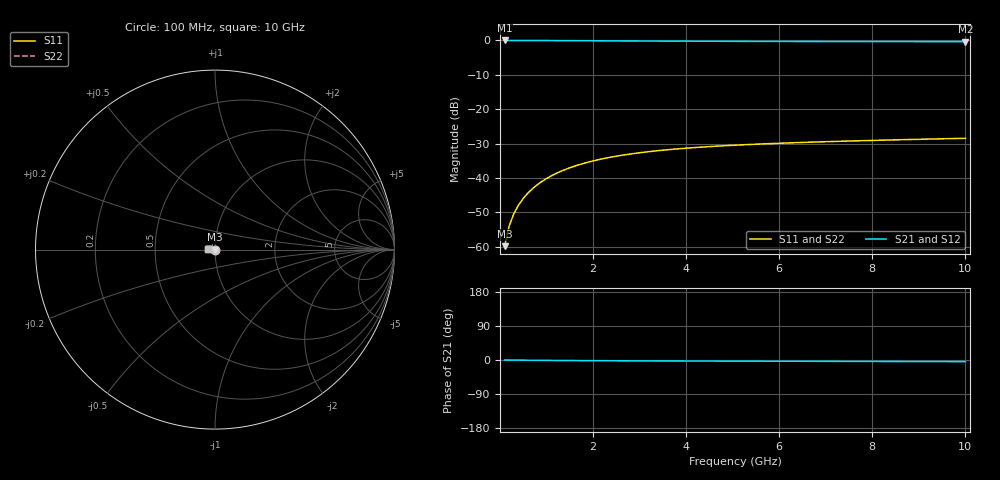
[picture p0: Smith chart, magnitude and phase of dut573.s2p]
! Touchstone file exported from HFSS 2024.1.0
!  File:  C:/UserFiles/LocalFiles/RDL_TSV_Batchsim/temp_TSV1_573_1779708339.aedt
!  Generated:  07:30:50 PM May 25, 2026
!  Design:  TSV1
!  Project:  temp_TSV1_573_1779708339
!  Setup:  Setup1
!  Solution:  Sweep
! Variables:
!  dtsv = 10.48um
!  hbump = 3um
!  htsv = 64.72um
!  lrdl = 252.1521522um
!  p = 40
!  p1 = 53.99um
!  t = 500um
!  trdl = 3um
!  wrdl = 24.89489489um
# GHz S MA R 50.000000
! Terminal data exported
! Port[1] = TSV22_T1
! Port[2] = TSV22_T2
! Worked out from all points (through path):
!   100 points, 100 MHz to 10 GHz, reference 50 ohm
!   highest |S21| = 0.00 dB at 100 MHz (marker M1); lowest = -0.3 dB at 10 GHz (marker M2)
!   lowest |S11| = -59.9 dB at 100 MHz (marker M3), VSWR 1.00, Z = 50 - j0.101 ohm
!   |S11| at or under -10 dB: start of sweep to end of sweep
!   |S22| runs from -59.9 to -28.5 dB; largest |S21 - S12| = 8.8e-15
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0.1  0.001017 -85.4  0.9998 -0.1  0.9998 -0.1  0.001017 -85.4
! Gamma 0 0 0 0
! Port Impedance 50 0 50 0
0.2  0.002026 -90.5  0.9997 -0.2  0.9997 -0.2  0.002026 -90.5
0.3  0.003035 -93.5  0.9995 -0.3  0.9995 -0.3  0.003035 -93.5
0.4  0.00404 -95.9  0.9993 -0.4  0.9993 -0.4  0.00404 -95.9
0.5  0.005037 -98.2  0.999 -0.5  0.999 -0.5  0.005037 -98.2
0.6  0.006022 -100.4  0.9986 -0.6  0.9986 -0.6  0.006022 -100.4
0.7  0.006993 -102.5  0.9981 -0.7  0.9981 -0.7  0.006993 -102.5
0.8  0.007948 -104.5  0.9977 -0.8  0.9977 -0.8  0.007948 -104.5
0.9  0.008884 -106.5  0.9971 -0.9  0.9971 -0.9  0.008884 -106.5
1.1  0.01069 -110.3  0.9959 -1.1  0.9959 -1.1  0.01069 -110.3
1.4  0.01324 -115.8  0.9939 -1.3  0.9939 -1.3  0.01324 -115.8
1.6  0.01482 -119.3  0.9924 -1.5  0.9924 -1.5  0.01482 -119.3
1.8  0.0163 -122.6  0.9909 -1.6  0.9909 -1.6  0.0163 -122.6
2.1  0.01833 -127.3  0.9885 -1.8  0.9885 -1.8  0.01833 -127.3
2.5  0.02072 -133.0  0.9855 -2.0  0.9855 -2.0  0.02072 -133.0
2.9  0.02277 -138.3  0.9826 -2.2  0.9826 -2.2  0.02277 -138.3
3.4  0.02494 -144.2  0.9794 -2.4  0.9794 -2.4  0.02494 -144.2
4.2  0.0277 -152.5  0.9749 -2.7  0.9749 -2.7  0.0277 -152.5
5.1  0.03007 -160.3  0.9711 -3.0  0.9711 -3.0  0.03007 -160.3
6.7  0.03317 -171.5  0.9662 -3.4  0.9662 -3.4  0.03317 -171.5
8.4  0.03568 178.9  0.9629 -3.9  0.9629 -3.9  0.03568 178.9
10  0.03773 171.3  0.9607 -4.3  0.9607 -4.3  0.03773 171.3
